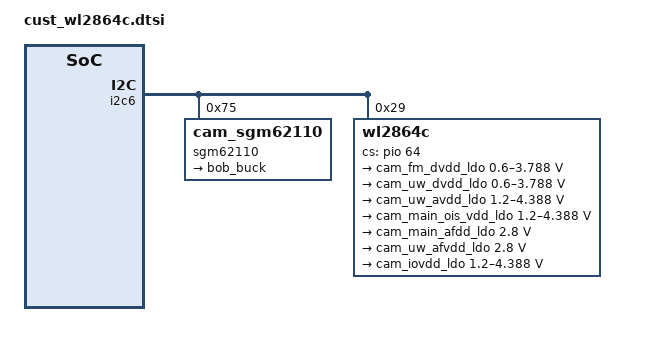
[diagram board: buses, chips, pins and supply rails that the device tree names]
// SPDX-License-Identifier: GPL-2.0
//
// Copyright (c) 2021 MediaTek Inc.
&i2c6 {


	rt6160@75 {
		compatible = "richtek,rt6160";
		reg = <0x75>;
		//enable-gpios = <&gpio26 2 0>;
		regulator-name = "rt6160-buckboost-1";
		regulator-min-microvolt = <3250000>;
		regulator-max-microvolt = <3250000>;
		regulator-always-on;
		status = "disabled";

	};
	sgm62110@75 {
		status = "ok";
		compatible = "cam_sgm62110";
		reg = <0x75>;
		regulators {
			bob_buck: ldo1 {
				regulator-name = "sgm62110-buck";
			};
		};
	};

	wl2864c: wl2864c@29 {
		status = "ok";
		compatible = "wl2864c";
		reg = <0x29>;
		//enable-gpio = <&pio 59 0x0>;
		semi,cs-gpios = <&pio 64 0x0>;
		regulator-nb = "ldo1", "ldo2",
				"ldo3", "ldo4",
				"ldo5", "ldo6",
				"ldo7";
		regulators {
			cam_fm_dvdd_ldo: ldo1 {
				regulator-name = "wl2864c-ldo1";
				regulator-min-microvolt = <600000>;
				regulator-max-microvolt = <3787500>;



			};
			cam_uw_dvdd_ldo: ldo2 {
				regulator-name = "wl2864c-ldo2";
				regulator-min-microvolt = <600000>;
				regulator-max-microvolt = <3787500>;

			};
			cam_uw_avdd_ldo: ldo3 {
				regulator-name = "wl2864c-ldo3";
				regulator-min-microvolt = <1200000>;
				regulator-max-microvolt = <4387500>;
				regulator-active-discharge;
			};
			cam_main_ois_vdd_ldo: ldo4 {
				regulator-name = "wl2864c-ldo4";
				regulator-min-microvolt = <1200000>;
				regulator-max-microvolt = <4387500>;
			};
			cam_main_afdd_ldo: ldo5 {
				regulator-name = "wl2864c-ldo5";
				regulator-min-microvolt = <2800000>;
				regulator-max-microvolt = <2800000>;
			};
			cam_uw_afvdd_ldo: ldo6 {
				regulator-name = "wl2864c-ldo6";
				regulator-min-microvolt = <2800000>;
				regulator-max-microvolt = <2800000>;
				regulator-active-discharge;
			};
			cam_iovdd_ldo: ldo7 {
				regulator-name = "wl2864c-ldo7";
				regulator-min-microvolt = <1200000>;
				regulator-max-microvolt = <4387500>;
			};
		};
	};
};
